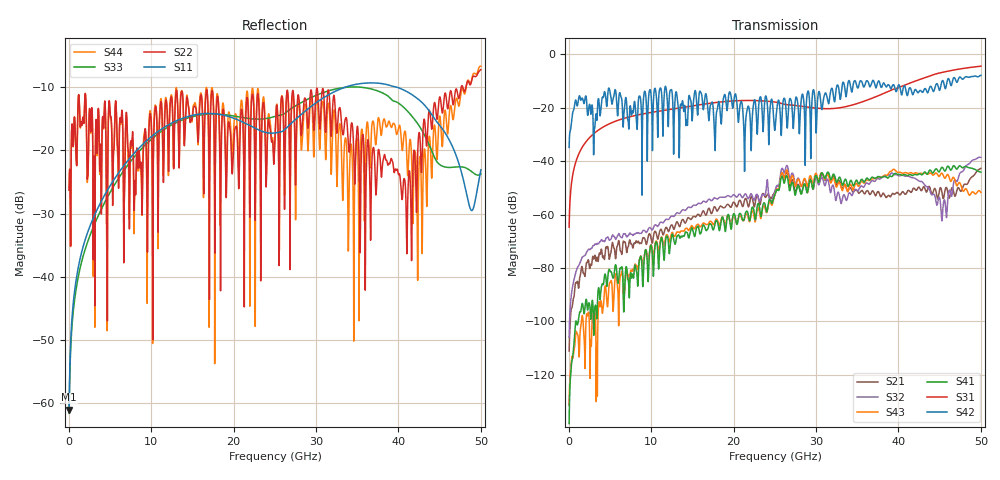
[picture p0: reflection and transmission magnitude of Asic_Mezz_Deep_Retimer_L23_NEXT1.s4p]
! Created Wed Jul  3 11:27:08 2019
# hz S ma R 50
! 4 Port Network Data from SP1.SP block
! freq  magS11  angS11  magS12  angS12  magS13  angS13  magS14  angS14
!  magS21  angS21  magS22  angS22  magS23  angS23  magS24  angS24
!  magS31  angS31  magS32  angS32  magS33  angS33  magS34  angS34
!  magS41  angS41  magS42  angS42  magS43  angS43  magS44  angS44
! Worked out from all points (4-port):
!   4996 points, 50 MHz to 50 GHz, reference 50 ohm
!   strongest paths, dB at 50 MHz, 12.54 GHz, 25.03 GHz, 37.52 GHz, 50 GHz:
!     S42: -34.9, -14.2, -28.0, -10.2, -7.9
!     S31: -64.7, -20.5, -17.9, -15.6, -4.4
!     S41: -138.3, -67.5, -52.4, -45.8, -44.1
!     S43: -131.4, -66.7, -52.4, -46.1, -51.7
!     S32: -106.0, -60.6, -51.3, -46.6, -38.6
!     S21: -111.1, -63.9, -51.3, -51.4, -42.7
!   lowest |S11| = -61.0 dB at 50 MHz (marker M1), VSWR 1.00, Z = 50.1 + j0.0697 ohm
!   |S11| at or under -10 dB: start of sweep to 33.49 GHz; 39.85 GHz to end of sweep
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5e7  0.0008868 51.7  2.772e-06 86.1  0.0005791 86.4  1.219e-07 108.7
     2.772e-06 86.1  0.04854 -88.1  5.031e-06 84.3  0.01803 53.0
     0.0005791 86.4  5.031e-06 84.3  0.0008289 47.9  2.68e-07 86.8
     1.219e-07 108.7  0.01803 53.0  2.68e-07 86.8  0.04865 -88.1
2.62e9  0.02557 69.9  0.0001113 41.9  0.02845 70.5  1.542e-05 -158.6
        0.0001113 41.9  0.1698 76.1  0.0002246 42.3  0.09682 81.2
        0.02845 70.5  0.0002246 42.3  0.02156 72.9  2.609e-06 111.4
        1.542e-05 -158.6  0.09682 81.2  2.609e-06 111.4  0.1666 75.6
1.266e10  0.167 -2.7  0.0005694 137.8  0.09473 15.2  0.0004 51.4
          0.0005694 137.8  0.136 -60.2  0.0009193 151.9  0.07989 -119.4
          0.09473 15.2  0.0009193 151.9  0.1615 3.2  0.000437 73.1
          0.0004 51.4  0.07989 -119.4  0.000437 73.1  0.1127 -55.4
2.637e10  0.15 -48.2  0.006059 86.1  0.1142 -99.8  0.005234 87.2
          0.006059 86.1  0.2326 -20.4  0.007903 89.6  0.08692 61.9
          0.1142 -99.8  0.007903 89.6  0.2003 -51.8  0.006572 87.2
          0.005234 87.2  0.08692 61.9  0.006572 87.2  0.2184 -31.1
4.098e10  0.2935 -124.7  0.002521 179.0  0.2733 69.6  0.005365 90.7
          0.002521 179.0  0.02003 -90.4  0.005214 -98.9  0.1836 -110.2
          0.2733 69.6  0.005214 -98.9  0.2088 -132.4  0.006017 167.1
          0.005365 90.7  0.1836 -110.2  0.006017 167.1  0.103 -125.2
4.531e10  0.149 -153.8  0.00241 74.6  0.4582 17.3  0.007658 3.5
          0.00241 74.6  0.1986 -36.8  0.0008575 -81.2  0.318 174.1
          0.4582 17.3  0.0008575 -81.2  0.07522 -115.3  0.005869 72.2
          0.007658 3.5  0.318 174.1  0.005869 72.2  0.1073 -30.7
5e10  0.07038 42.5  0.007319 -114.1  0.5992 -46.0  0.006209 -175.3
      0.007319 -114.1  0.4371 -59.9  0.01172 -120.7  0.4022 51.9
      0.5992 -46.0  0.01172 -120.7  0.06526 -48.9  0.00259 130.6
      0.006209 -175.3  0.4022 51.9  0.00259 130.6  0.4648 -53.4
